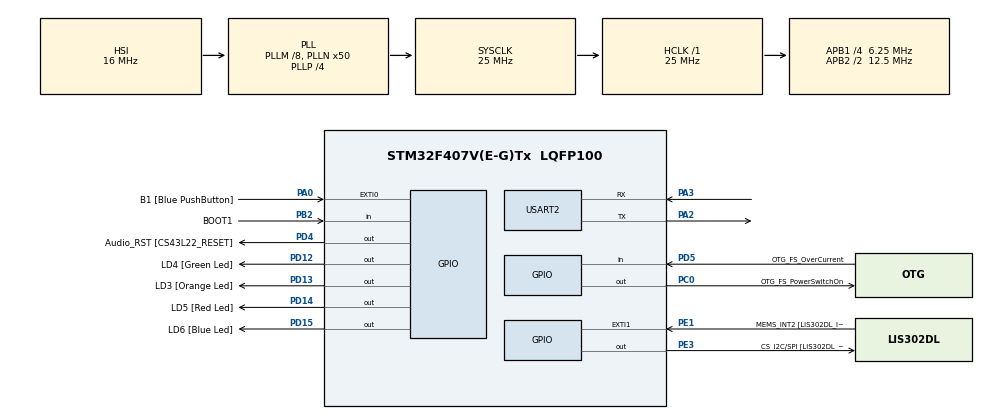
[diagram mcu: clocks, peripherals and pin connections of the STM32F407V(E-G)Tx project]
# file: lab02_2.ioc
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Mcu.Family=STM32F4
Mcu.Name=STM32F407V(E-G)Tx
Mcu.Package=LQFP100
NVIC.PriorityGroup=NVIC_PRIORITYGROUP_4
NVIC.TIM7_IRQn=true\:15\:0\:false\:false\:true\:false\:true
NVIC.TimeBase=TIM7_IRQn
NVIC.TimeBaseIP=TIM7
PA0-WKUP.GPIO_Label=B1 [Blue PushButton]
PA0-WKUP.Signal=GPXTI0
PA10.GPIO_Label=OTG_FS_ID
PA10.GPIO_Mode=GPIO_MODE_AF_PP
PA10.GPIO_PuPd=GPIO_NOPULL
PA10.GPIO_Speed=GPIO_SPEED_FREQ_LOW
PA10.Signal=USB_OTG_FS_ID
PA11.GPIO_Label=OTG_FS_DM
PA11.GPIO_Mode=GPIO_MODE_AF_PP
PA11.GPIO_PuPd=GPIO_NOPULL
PA11.GPIO_Speed=GPIO_SPEED_FREQ_LOW
PA11.Signal=USB_OTG_FS_DM
PA12.GPIO_Label=OTG_FS_DP
PA12.GPIO_Mode=GPIO_MODE_AF_PP
PA12.GPIO_PuPd=GPIO_NOPULL
PA12.GPIO_Speed=GPIO_SPEED_FREQ_LOW
PA12.Signal=USB_OTG_FS_DP
PA13.GPIO_Label=SWDIO
PA13.Mode=Serial_Wire
PA13.Signal=SYS_JTMS-SWDIO
PA14.GPIO_Label=SWCLK
PA14.Mode=Serial_Wire
PA14.Signal=SYS_JTCK-SWCLK
PA2.Mode=Asynchronous
PA2.Signal=USART2_TX
PA3.Mode=Asynchronous
PA3.Signal=USART2_RX
PA4.GPIO_Label=I2S3_WS [CS43L22_LRCK]
PA4.GPIO_Mode=GPIO_MODE_AF_PP
PA4.GPIO_PuPd=GPIO_NOPULL
PA4.GPIO_Speed=GPIO_SPEED_FREQ_LOW
PA4.Signal=I2S3_WS
PA5.GPIO_Label=SPI1_SCK [LIS302DL_SCL/SPC]
PA5.GPIO_Mode=GPIO_MODE_AF_PP
PA5.GPIO_PuPd=GPIO_NOPULL
PA5.GPIO_Speed=GPIO_SPEED_FREQ_LOW
PA5.Signal=SPI1_SCK
PA6.GPIO_Label=SPI1_MISO [LIS302DL_SDO]
PA6.GPIO_Mode=GPIO_MODE_AF_PP
PA6.GPIO_PuPd=GPIO_NOPULL
PA6.GPIO_Speed=GPIO_SPEED_FREQ_LOW
PA6.Signal=SPI1_MISO
PA7.GPIO_Label=SPI1_MOSI [LIS302DL_SDA/SDI/SDO]
PA7.GPIO_Mode=GPIO_MODE_AF_PP
PA7.GPIO_PuPd=GPIO_NOPULL
PA7.GPIO_Speed=GPIO_SPEED_FREQ_LOW
PA7.Signal=SPI1_MOSI
PA9.GPIO_Label=VBUS_FS
PA9.GPIO_Mode=GPIO_MODE_INPUT
PA9.GPIO_PuPd=GPIO_NOPULL
PA9.Signal=USB_OTG_FS_VBUS
PB10.GPIO_Label=CLK_IN [MP45DT02_CLK]
PB10.GPIO_Mode=GPIO_MODE_AF_PP
PB10.GPIO_PuPd=GPIO_NOPULL
PB10.GPIO_Speed=GPIO_SPEED_FREQ_LOW
PB10.Signal=I2S2_CK
PB2.GPIO_Label=BOOT1
PB2.GPIO_Mode=GPIO_MODE_INPUT
PB2.GPIO_PuPd=GPIO_NOPULL
PB2.Signal=GPIO_Input
PB3.GPIO_Label=SWO
PB3.Signal=SYS_JTDO-SWO
PB6.GPIO_Label=Audio_SCL [CS43L22_SCL]
PB6.GPIO_Mode=GPIO_MODE_AF_OD
PB6.GPIO_PuPd=GPIO_NOPULL
PB6.GPIO_Speed=GPIO_SPEED_FREQ_LOW
PB6.Signal=I2C1_SCL
PB9.GPIO_Label=Audio_SDA [CS43L22_SDA]
PB9.GPIO_Mode=GPIO_MODE_AF_OD
PB9.GPIO_PuPd=GPIO_NOPULL
PB9.GPIO_Speed=GPIO_SPEED_FREQ_LOW
PB9.Signal=I2C1_SDA
PC0.GPIO_Label=OTG_FS_PowerSwitchOn
PC0.GPIO_PuPd=GPIO_NOPULL
PC0.GPIO_Speed=GPIO_SPEED_FREQ_LOW
PC0.PinState=GPIO_PIN_SET
PC0.Signal=GPIO_Output
PC10.GPIO_Label=I2S3_SCK [CS43L22_SCLK]
PC10.GPIO_Mode=GPIO_MODE_AF_PP
PC10.GPIO_PuPd=GPIO_NOPULL
PC10.GPIO_Speed=GPIO_SPEED_FREQ_LOW
PC10.Signal=I2S3_CK
PC12.GPIO_Label=I2S3_SD [CS43L22_SDIN]
PC12.GPIO_Mode=GPIO_MODE_AF_PP
PC12.GPIO_PuPd=GPIO_NOPULL
PC12.GPIO_Speed=GPIO_SPEED_FREQ_LOW
PC12.Signal=I2S3_SD
PC14-OSC32_IN.GPIO_Label=PC14-OSC32_IN
PC14-OSC32_IN.Signal=RCC_OSC32_IN
PC15-OSC32_OUT.GPIO_Label=PC15-OSC32_OUT
PC15-OSC32_OUT.Signal=RCC_OSC32_OUT
PC3.GPIO_Label=PDM_OUT [MP45DT02_DOUT]
PC3.GPIO_Mode=GPIO_MODE_AF_PP
PC3.GPIO_PuPd=GPIO_NOPULL
PC3.GPIO_Speed=GPIO_SPEED_FREQ_LOW
PC3.Signal=I2S2_SD
PC7.GPIO_Label=I2S3_MCK [CS43L22_MCLK]
PC7.GPIO_Mode=GPIO_MODE_AF_PP
PC7.GPIO_PuPd=GPIO_NOPULL
PC7.GPIO_Speed=GPIO_SPEED_FREQ_LOW
PC7.Signal=I2S3_MCK
PD12.GPIO_Label=LD4 [Green Led]
PD12.GPIO_PuPd=GPIO_NOPULL
PD12.GPIO_Speed=GPIO_SPEED_FREQ_LOW
PD12.Signal=GPIO_Output
PD13.GPIO_Label=LD3 [Orange Led]
PD13.GPIO_PuPd=GPIO_NOPULL
PD13.GPIO_Speed=GPIO_SPEED_FREQ_LOW
PD13.Signal=GPIO_Output
PD14.GPIO_Label=LD5 [Red Led]
PD14.GPIO_PuPd=GPIO_NOPULL
PD14.GPIO_Speed=GPIO_SPEED_FREQ_LOW
PD14.Signal=GPIO_Output
PD15.GPIO_Label=LD6 [Blue Led]
PD15.GPIO_PuPd=GPIO_NOPULL
PD15.GPIO_Speed=GPIO_SPEED_FREQ_LOW
PD15.Signal=GPIO_Output
PD4.GPIO_Label=Audio_RST [CS43L22_RESET]
PD4.GPIO_PuPd=GPIO_NOPULL
PD4.GPIO_Speed=GPIO_SPEED_FREQ_LOW
PD4.Signal=GPIO_Output
PD5.GPIO_Label=OTG_FS_OverCurrent
PD5.GPIO_Mode=GPIO_MODE_INPUT
PD5.GPIO_PuPd=GPIO_NOPULL
PD5.Signal=GPIO_Input
PE1.GPIO_Label=MEMS_INT2 [LIS302DL_INT2]
PE1.GPIO_ModeDefaultEXTI=GPIO_MODE_EVT_RISING
PE1.GPIO_PuPd=GPIO_NOPULL
PE1.Signal=GPXTI1
PE3.GPIO_Label=CS_I2C/SPI [LIS302DL_CS_I2C/SPI]
PE3.GPIO_PuPd=GPIO_NOPULL
PE3.GPIO_Speed=GPIO_SPEED_FREQ_LOW
PE3.Signal=GPIO_Output
PH0-OSC_IN.GPIO_Label=PH0-OSC_IN
PH0-OSC_IN.Signal=RCC_OSC_IN
PH1-OSC_OUT.GPIO_Label=PH1-OSC_OUT
PH1-OSC_OUT.Signal=RCC_OSC_OUT
ProjectManager.HeapSize=0x200
ProjectManager.StackSize=0x400
ProjectManager.TargetToolchain=STM32CubeIDE
RCC.48MHZClocksFreq_Value=14285714.285714285
RCC.AHBFreq_Value=25000000
RCC.APB1CLKDivider=RCC_HCLK_DIV4
RCC.APB1Freq_Value=6250000
RCC.APB1TimFreq_Value=12500000
RCC.APB2CLKDivider=RCC_HCLK_DIV2
RCC.APB2Freq_Value=12500000
RCC.APB2TimFreq_Value=25000000
RCC.CortexFreq_Value=25000000
RCC.HCLKFreq_Value=25000000
RCC.HSE_VALUE=8000000
RCC.HSI_VALUE=16000000
RCC.LSE_VALUE=32768
RCC.PLLM=8
RCC.PLLN=50
RCC.PLLP=RCC_PLLP_DIV4
RCC.PLLQ=7
RCC.SYSCLKFreq_VALUE=25000000
RCC.SYSCLKSource=RCC_SYSCLKSOURCE_PLLCLK
RCC.VCOOutputFreq_Value=100000000
USART2.VirtualMode=VM_ASYNC
VP_SYS_VS_tim7.Mode=TIM7
board=STM32F407G-DISC1

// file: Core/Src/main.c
/* USER CODE BEGIN Header */
/**
  ******************************************************************************
  * @file           : main.c
  * @brief          : Main program body
  ******************************************************************************
  * @attention
  *
  * Copyright (c) 2022 STMicroelectronics.
  * All rights reserved.
  *
  * This software is licensed under terms that can be found in the LICENSE file
  * in the root directory of this software component.
  * If no LICENSE file comes with this software, it is provided AS-IS.
  *
  ******************************************************************************
  */
/* USER CODE END Header */
#include "main.h"
#include "stdio.h"
#include "stdlib.h"
#include "FreeRTOS.h"
#include "task.h"
#include "queue.h"

/* USER CODE BEGIN PD */
#define Red_LED_Pin GPIO_PIN_14
#define Green_LED_Pin GPIO_PIN_12
/* USER CODE END PD */

UART_HandleTypeDef huart2;

void SystemClock_Config(void);
static void MX_GPIO_Init(void);
static void MX_USART2_UART_Init(void);

/* USER CODE BEGIN 0 */
void TaskMonitor_App(void *pvParameters){
	for(;;){
		Taskmonitor();
		vTaskDelay(1000);
	}
}

void Red_LED_App(void *pvParameters){
	uint32_t Redtimer = 800;
	for(;;){
		HAL_GPIO_TogglePin(GPIOD,Red_LED_Pin);
		vTaskDelay(Redtimer);
		Redtimer+=1;
	}
}

void Green_LED_App(void *pvParameters){
	uint32_t Greentimer = 1000;
	for(;;){
		HAL_GPIO_TogglePin(GPIOD,Green_LED_Pin);
		vTaskDelay(Greentimer);
		Greentimer+=2;
	}
}

void Delay_App(void *pvParameters){
	int delayflag=0;
	uint32_t delaytime;
	while(1){
		if(delayflag==0){
			delaytime = 1000;
			delayflag=1;
		}else{
			delaytime=0xFFFFFFFF;
		}
		vTaskDelay(delaytime);
	}
}
/* USER CODE END 0 */

int main(void)
{

  /* MCU Configuration--------------------------------------------------------*/

  /* Reset of all peripherals, Initializes the Flash interface and the Systick. */
  HAL_Init();

  /* Configure the system clock */
  SystemClock_Config();

  /* Initialize all configured peripherals */
  MX_GPIO_Init();
  MX_USART2_UART_Init();
  /* USER CODE BEGIN 2 */
  xTaskCreate(
		  TaskMonitor_App,
    		  "TaskMonitor_App",
    		  300,
    		  NULL,
    		  3,
  		  NULL);
  xTaskCreate(
		  Red_LED_App,
    		  "Red_LED_App",
    		  128,
    		  NULL,
    		  1,
  		  NULL);
  xTaskCreate(
		  Green_LED_App,
    		  "Green_LED_App",
    		  128,
    		  NULL,
    		  1,
  		  NULL);
  xTaskCreate(
		  Delay_App,
    		  "Delay_App",
    		  128,
    		  NULL,
    		  14,
  		  NULL);
  vTaskStartScheduler();
  /* USER CODE END 2 */

  /* Infinite loop */
  while (1)
  {

  }
}

void SystemClock_Config(void)
{
  RCC_OscInitTypeDef RCC_OscInitStruct = {0};
  RCC_ClkInitTypeDef RCC_ClkInitStruct = {0};

  /** Configure the main internal regulator output voltage
  */
  __HAL_RCC_PWR_CLK_ENABLE();
  __HAL_PWR_VOLTAGESCALING_CONFIG(PWR_REGULATOR_VOLTAGE_SCALE1);
  /** Initializes the RCC Oscillators according to the specified parameters
  * in the RCC_OscInitTypeDef structure.
  */
  RCC_OscInitStruct.OscillatorType = RCC_OSCILLATORTYPE_HSI;
  RCC_OscInitStruct.HSIState = RCC_HSI_ON;
  RCC_OscInitStruct.HSICalibrationValue = RCC_HSICALIBRATION_DEFAULT;
  RCC_OscInitStruct.PLL.PLLState = RCC_PLL_ON;
  RCC_OscInitStruct.PLL.PLLSource = RCC_PLLSOURCE_HSI;
  RCC_OscInitStruct.PLL.PLLM = 8;
  RCC_OscInitStruct.PLL.PLLN = 50;
  RCC_OscInitStruct.PLL.PLLP = RCC_PLLP_DIV4;
  RCC_OscInitStruct.PLL.PLLQ = 7;
  if (HAL_RCC_OscConfig(&RCC_OscInitStruct) != HAL_OK)
  {
    Error_Handler();
  }
  /** Initializes the CPU, AHB and APB buses clocks
  */
  RCC_ClkInitStruct.ClockType = RCC_CLOCKTYPE_HCLK|RCC_CLOCKTYPE_SYSCLK
                              |RCC_CLOCKTYPE_PCLK1|RCC_CLOCKTYPE_PCLK2;
  RCC_ClkInitStruct.SYSCLKSource = RCC_SYSCLKSOURCE_PLLCLK;
  RCC_ClkInitStruct.AHBCLKDivider = RCC_SYSCLK_DIV1;
  RCC_ClkInitStruct.APB1CLKDivider = RCC_HCLK_DIV4;
  RCC_ClkInitStruct.APB2CLKDivider = RCC_HCLK_DIV2;

  if (HAL_RCC_ClockConfig(&RCC_ClkInitStruct, FLASH_LATENCY_0) != HAL_OK)
  {
    Error_Handler();
  }
}

static void MX_USART2_UART_Init(void)
{

  huart2.Instance = USART2;
  huart2.Init.BaudRate = 115200;
  huart2.Init.WordLength = UART_WORDLENGTH_8B;
  huart2.Init.StopBits = UART_STOPBITS_1;
  huart2.Init.Parity = UART_PARITY_NONE;
  huart2.Init.Mode = UART_MODE_TX_RX;
  huart2.Init.HwFlowCtl = UART_HWCONTROL_NONE;
  huart2.Init.OverSampling = UART_OVERSAMPLING_16;
  if (HAL_UART_Init(&huart2) != HAL_OK)
  {
    Error_Handler();
  }

}

static void MX_GPIO_Init(void)
{
  GPIO_InitTypeDef GPIO_InitStruct = {0};

  /* GPIO Ports Clock Enable */
  __HAL_RCC_GPIOE_CLK_ENABLE();
  __HAL_RCC_GPIOC_CLK_ENABLE();
  __HAL_RCC_GPIOH_CLK_ENABLE();
  __HAL_RCC_GPIOA_CLK_ENABLE();
  __HAL_RCC_GPIOB_CLK_ENABLE();
  __HAL_RCC_GPIOD_CLK_ENABLE();

  /*Configure GPIO pin Output Level */
  HAL_GPIO_WritePin(CS_I2C_SPI_GPIO_Port, CS_I2C_SPI_Pin, GPIO_PIN_RESET);

  /*Configure GPIO pin Output Level */
  HAL_GPIO_WritePin(OTG_FS_PowerSwitchOn_GPIO_Port, OTG_FS_PowerSwitchOn_Pin, GPIO_PIN_SET);

  /*Configure GPIO pin Output Level */
  HAL_GPIO_WritePin(GPIOD, LD4_Pin|LD3_Pin|LD5_Pin|LD6_Pin
                          |Audio_RST_Pin, GPIO_PIN_RESET);

  /*Configure GPIO pin : CS_I2C_SPI_Pin */
  GPIO_InitStruct.Pin = CS_I2C_SPI_Pin;
  GPIO_InitStruct.Mode = GPIO_MODE_OUTPUT_PP;
  GPIO_InitStruct.Pull = GPIO_NOPULL;
  GPIO_InitStruct.Speed = GPIO_SPEED_FREQ_LOW;
  HAL_GPIO_Init(CS_I2C_SPI_GPIO_Port, &GPIO_InitStruct);

  /*Configure GPIO pin : OTG_FS_PowerSwitchOn_Pin */
  GPIO_InitStruct.Pin = OTG_FS_PowerSwitchOn_Pin;
  GPIO_InitStruct.Mode = GPIO_MODE_OUTPUT_PP;
  GPIO_InitStruct.Pull = GPIO_NOPULL;
  GPIO_InitStruct.Speed = GPIO_SPEED_FREQ_LOW;
  HAL_GPIO_Init(OTG_FS_PowerSwitchOn_GPIO_Port, &GPIO_InitStruct);

  /*Configure GPIO pin : PDM_OUT_Pin */
  GPIO_InitStruct.Pin = PDM_OUT_Pin;
  GPIO_InitStruct.Mode = GPIO_MODE_AF_PP;
  GPIO_InitStruct.Pull = GPIO_NOPULL;
  GPIO_InitStruct.Speed = GPIO_SPEED_FREQ_LOW;
  GPIO_InitStruct.Alternate = GPIO_AF5_SPI2;
  HAL_GPIO_Init(PDM_OUT_GPIO_Port, &GPIO_InitStruct);

  /*Configure GPIO pin : B1_Pin */
  GPIO_InitStruct.Pin = B1_Pin;
  GPIO_InitStruct.Mode = GPIO_MODE_IT_RISING;
  GPIO_InitStruct.Pull = GPIO_NOPULL;
  HAL_GPIO_Init(B1_GPIO_Port, &GPIO_InitStruct);

  /*Configure GPIO pin : I2S3_WS_Pin */
  GPIO_InitStruct.Pin = I2S3_WS_Pin;
  GPIO_InitStruct.Mode = GPIO_MODE_AF_PP;
  GPIO_InitStruct.Pull = GPIO_NOPULL;
  GPIO_InitStruct.Speed = GPIO_SPEED_FREQ_LOW;
  GPIO_InitStruct.Alternate = GPIO_AF6_SPI3;
  HAL_GPIO_Init(I2S3_WS_GPIO_Port, &GPIO_InitStruct);

  /*Configure GPIO pins : SPI1_SCK_Pin SPI1_MISO_Pin SPI1_MOSI_Pin */
  GPIO_InitStruct.Pin = SPI1_SCK_Pin|SPI1_MISO_Pin|SPI1_MOSI_Pin;
  GPIO_InitStruct.Mode = GPIO_MODE_AF_PP;
  GPIO_InitStruct.Pull = GPIO_NOPULL;
  GPIO_InitStruct.Speed = GPIO_SPEED_FREQ_LOW;
  GPIO_InitStruct.Alternate = GPIO_AF5_SPI1;
  HAL_GPIO_Init(GPIOA, &GPIO_InitStruct);

  /*Configure GPIO pin : BOOT1_Pin */
  GPIO_InitStruct.Pin = BOOT1_Pin;
  GPIO_InitStruct.Mode = GPIO_MODE_INPUT;
  GPIO_InitStruct.Pull = GPIO_NOPULL;
  HAL_GPIO_Init(BOOT1_GPIO_Port, &GPIO_InitStruct);

  /*Configure GPIO pin : CLK_IN_Pin */
  GPIO_InitStruct.Pin = CLK_IN_Pin;
  GPIO_InitStruct.Mode = GPIO_MODE_AF_PP;
  GPIO_InitStruct.Pull = GPIO_NOPULL;
  GPIO_InitStruct.Speed = GPIO_SPEED_FREQ_LOW;
  GPIO_InitStruct.Alternate = GPIO_AF5_SPI2;
  HAL_GPIO_Init(CLK_IN_GPIO_Port, &GPIO_InitStruct);

  /*Configure GPIO pins : LD4_Pin LD3_Pin LD5_Pin LD6_Pin
                           Audio_RST_Pin */
  GPIO_InitStruct.Pin = LD4_Pin|LD3_Pin|LD5_Pin|LD6_Pin
                          |Audio_RST_Pin;
  GPIO_InitStruct.Mode = GPIO_MODE_OUTPUT_PP;
  GPIO_InitStruct.Pull = GPIO_NOPULL;
  GPIO_InitStruct.Speed = GPIO_SPEED_FREQ_LOW;
  HAL_GPIO_Init(GPIOD, &GPIO_InitStruct);

  /*Configure GPIO pins : I2S3_MCK_Pin I2S3_SCK_Pin I2S3_SD_Pin */
  GPIO_InitStruct.Pin = I2S3_MCK_Pin|I2S3_SCK_Pin|I2S3_SD_Pin;
  GPIO_InitStruct.Mode = GPIO_MODE_AF_PP;
  GPIO_InitStruct.Pull = GPIO_NOPULL;
  GPIO_InitStruct.Speed = GPIO_SPEED_FREQ_LOW;
  GPIO_InitStruct.Alternate = GPIO_AF6_SPI3;
  HAL_GPIO_Init(GPIOC, &GPIO_InitStruct);

  /*Configure GPIO pin : VBUS_FS_Pin */
  GPIO_InitStruct.Pin = VBUS_FS_Pin;
  GPIO_InitStruct.Mode = GPIO_MODE_INPUT;
  GPIO_InitStruct.Pull = GPIO_NOPULL;
  HAL_GPIO_Init(VBUS_FS_GPIO_Port, &GPIO_InitStruct);

  /*Configure GPIO pins : OTG_FS_ID_Pin OTG_FS_DM_Pin OTG_FS_DP_Pin */
  GPIO_InitStruct.Pin = OTG_FS_ID_Pin|OTG_FS_DM_Pin|OTG_FS_DP_Pin;
  GPIO_InitStruct.Mode = GPIO_MODE_AF_PP;
  GPIO_InitStruct.Pull = GPIO_NOPULL;
  GPIO_InitStruct.Speed = GPIO_SPEED_FREQ_LOW;
  GPIO_InitStruct.Alternate = GPIO_AF10_OTG_FS;
  HAL_GPIO_Init(GPIOA, &GPIO_InitStruct);

  /*Configure GPIO pin : OTG_FS_OverCurrent_Pin */
  GPIO_InitStruct.Pin = OTG_FS_OverCurrent_Pin;
  GPIO_InitStruct.Mode = GPIO_MODE_INPUT;
  GPIO_InitStruct.Pull = GPIO_NOPULL;
  HAL_GPIO_Init(OTG_FS_OverCurrent_GPIO_Port, &GPIO_InitStruct);

  /*Configure GPIO pins : Audio_SCL_Pin Audio_SDA_Pin */
  GPIO_InitStruct.Pin = Audio_SCL_Pin|Audio_SDA_Pin;
  GPIO_InitStruct.Mode = GPIO_MODE_AF_OD;
  GPIO_InitStruct.Pull = GPIO_NOPULL;
  GPIO_InitStruct.Speed = GPIO_SPEED_FREQ_LOW;
  GPIO_InitStruct.Alternate = GPIO_AF4_I2C1;
  HAL_GPIO_Init(GPIOB, &GPIO_InitStruct);

  /*Configure GPIO pin : MEMS_INT2_Pin */
  GPIO_InitStruct.Pin = MEMS_INT2_Pin;
  GPIO_InitStruct.Mode = GPIO_MODE_EVT_RISING;
  GPIO_InitStruct.Pull = GPIO_NOPULL;
  HAL_GPIO_Init(MEMS_INT2_GPIO_Port, &GPIO_InitStruct);

}

void HAL_TIM_PeriodElapsedCallback(TIM_HandleTypeDef *htim)
{
  if (htim->Instance == TIM7) {
    HAL_IncTick();
  }
}

void Error_Handler(void)
{
  __disable_irq();
  while (1)
  {
  }
}
